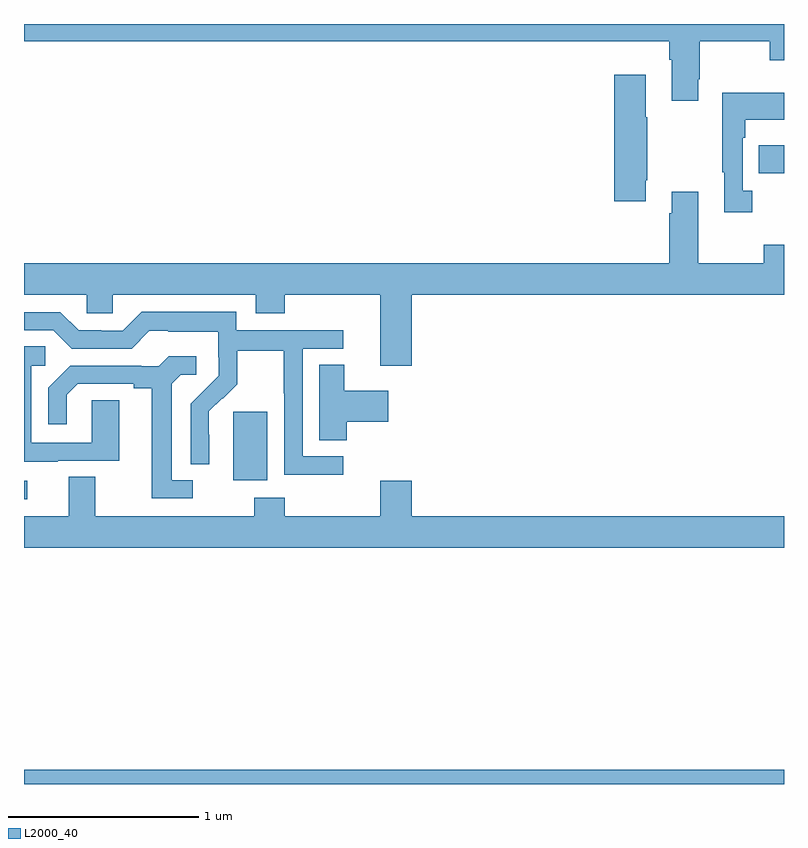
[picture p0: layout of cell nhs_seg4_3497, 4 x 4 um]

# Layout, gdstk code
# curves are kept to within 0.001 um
import gdstk
lib = gdstk.Library(unit=1e-6, precision=1e-09)
def R(c, l, rs):  # rectangles x0, y0, x1, y1
    for r in rs: c.add(gdstk.rectangle(r[:2], r[2:], *l))
def P(c, l, *ps):  # polygons
    for p in ps: c.add(gdstk.Polygon(p, *l))
L2000_40 = (2000, 40)

nhs_seg4_3497 = lib.new_cell('nhs_seg4_3497')
R(nhs_seg4_3497, L2000_40, [(295,804.9,299,804.976), (295,806.4,295.018,806.496), (296.102,806.498,296.281,806.859), (298.867,808.114,299,808.261)])
P(nhs_seg4_3497, L2000_40, [(298.549,808.609),(298.557,808.609),(298.557,808.808),(298.924,808.808),(298.924,808.709),(299,808.709),(299,808.9),(295,808.9),(295,808.808),(298.397,808.808),(298.397,808.712),(298.409,808.712),(298.409,808.497),(298.549,808.497)],
  [(298.273,808.078),(298.281,808.078),(298.281,808.409),(298.273,808.409),(298.273,808.633),(298.106,808.633),(298.106,807.966),(298.273,807.966)],
  [(298.834,808.022),(298.782,808.022),(298.782,808.301),(298.795,808.301),(298.795,808.397),(299,808.397),(299,808.537),(298.674,808.537),(298.674,808.121),(298.685,808.121),(298.685,807.909),(298.834,807.909)],
  [(297.04,807.476),(299,807.476),(299,807.739),(298.894,807.739),(298.894,807.64),(298.549,807.64),(298.549,808.018),(298.409,808.018),(298.409,807.905),(298.397,807.905),(298.397,807.64),(295,807.64),(295,807.476),(295.329,807.476),(295.329,807.378),(295.467,807.378),(295.467,807.476),(296.219,807.476),(296.219,807.377),(296.372,807.377),(296.372,807.476),(296.876,807.476),(296.876,807.102),(297.04,807.102)],
  [(296.68,806.625),(296.466,806.625),(296.466,807.192),(296.68,807.192),(296.68,807.288),(296.118,807.288),(296.118,807.385),(295.621,807.385),(295.521,807.285),(295.406,807.285),(295.406,807.288),(295.287,807.288),(295.191,807.384),(295,807.384),(295,807.288),(295.155,807.288),(295.251,807.192),(295.566,807.192),(295.659,807.285),(295.759,807.285),(295.759,807.281),(296.022,807.281),(296.022,807.147),(296.024,807.147),(296.024,807.05),(295.878,806.902),(295.878,806.584),(295.974,806.584),(295.973,806.861),(296.043,806.931),(296.046,806.928),(296.123,807.005),(296.123,807.18),(296.368,807.18),(296.368,806.956),(296.37,806.956),(296.37,806.527),(296.68,806.527)],
  [(295.177,806.601),(295.501,806.601),(295.501,806.921),(295.356,806.921),(295.356,806.697),(295.038,806.697),(295.038,807.102),(295.111,807.102),(295.111,807.203),(295,807.203),(295,806.597),(295.177,806.597)],
  [(295.888,806.499),(295.777,806.499),(295.777,807.007),(295.824,807.054),(295.906,807.054),(295.906,807.151),(295.762,807.151),(295.71,807.099),(295.616,807.099),(295.616,807.102),(295.244,807.102),(295.128,806.986),(295.128,806.793),(295.225,806.793),(295.225,806.949),(295.282,807.006),(295.577,807.006),(295.577,806.984),(295.673,806.984),(295.673,806.403),(295.888,806.403)],
  [(296.699,806.806),(296.917,806.806),(296.917,806.971),(296.686,806.971),(296.686,807.107),(296.555,807.107),(296.555,806.71),(296.699,806.71)],
  [(299,806.308),(297.04,806.308),(297.04,806.497),(296.876,806.497),(296.876,806.308),(296.372,806.308),(296.372,806.407),(296.212,806.407),(296.212,806.308),(295.375,806.308),(295.375,806.516),(295.235,806.516),(295.235,806.308),(295,806.308),(295,806.144),(299,806.144)])

lib.write_gds('nhs_seg4_3497.gds')
